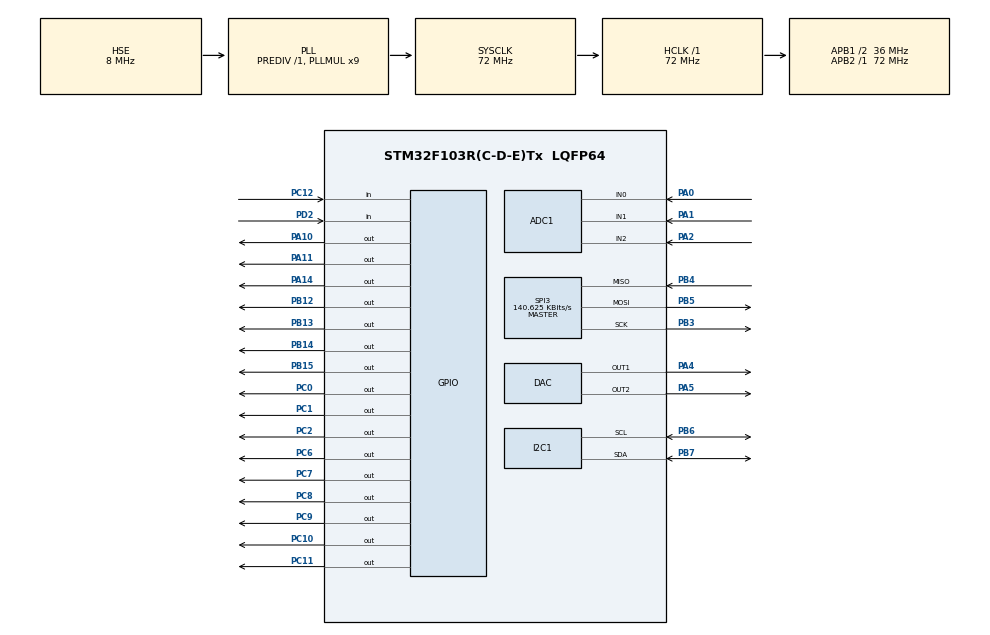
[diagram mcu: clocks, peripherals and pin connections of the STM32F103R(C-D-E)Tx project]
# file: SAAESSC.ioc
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ADC1.Channel-0\#ChannelRegularConversion=ADC_CHANNEL_2
ADC1.Channel-1\#ChannelRegularConversion=ADC_CHANNEL_1
ADC1.Channel-2\#ChannelRegularConversion=ADC_CHANNEL_0
ADC1.ExternalTrigConv=ADC_EXTERNALTRIGCONV_T3_TRGO
ADC1.NbrOfConversion=3
ADC1.NbrOfConversionFlag=1
ADC1.Rank-0\#ChannelRegularConversion=1
ADC1.Rank-1\#ChannelRegularConversion=2
ADC1.Rank-2\#ChannelRegularConversion=3
ADC1.SamplingTime-0\#ChannelRegularConversion=ADC_SAMPLETIME_1CYCLE_5
ADC1.SamplingTime-1\#ChannelRegularConversion=ADC_SAMPLETIME_1CYCLE_5
ADC1.SamplingTime-2\#ChannelRegularConversion=ADC_SAMPLETIME_1CYCLE_5
ADC1.master=1
DAC.DAC_Trigger=DAC_TRIGGER_T6_TRGO
DAC.DAC_Trigger2=DAC_TRIGGER_NONE
Dma.ADC1.1.Direction=DMA_PERIPH_TO_MEMORY
Dma.ADC1.1.Instance=DMA1_Channel1
Dma.ADC1.1.MemDataAlignment=DMA_MDATAALIGN_HALFWORD
Dma.ADC1.1.MemInc=DMA_MINC_ENABLE
Dma.ADC1.1.Mode=DMA_CIRCULAR
Dma.ADC1.1.PeriphDataAlignment=DMA_PDATAALIGN_HALFWORD
Dma.ADC1.1.PeriphInc=DMA_PINC_DISABLE
Dma.ADC1.1.Priority=DMA_PRIORITY_HIGH
Dma.DAC_CH1.0.Direction=DMA_MEMORY_TO_PERIPH
Dma.DAC_CH1.0.Instance=DMA2_Channel3
Dma.DAC_CH1.0.MemDataAlignment=DMA_MDATAALIGN_HALFWORD
Dma.DAC_CH1.0.MemInc=DMA_MINC_ENABLE
Dma.DAC_CH1.0.Mode=DMA_CIRCULAR
Dma.DAC_CH1.0.PeriphDataAlignment=DMA_PDATAALIGN_HALFWORD
Dma.DAC_CH1.0.PeriphInc=DMA_PINC_DISABLE
Dma.DAC_CH1.0.Priority=DMA_PRIORITY_LOW
Dma.I2C1_RX.3.Direction=DMA_PERIPH_TO_MEMORY
Dma.I2C1_RX.3.Instance=DMA1_Channel7
Dma.I2C1_RX.3.MemDataAlignment=DMA_MDATAALIGN_BYTE
Dma.I2C1_RX.3.MemInc=DMA_MINC_ENABLE
Dma.I2C1_RX.3.Mode=DMA_NORMAL
Dma.I2C1_RX.3.PeriphDataAlignment=DMA_PDATAALIGN_BYTE
Dma.I2C1_RX.3.PeriphInc=DMA_PINC_DISABLE
Dma.I2C1_RX.3.Priority=DMA_PRIORITY_LOW
Dma.I2C1_TX.4.Direction=DMA_MEMORY_TO_PERIPH
Dma.I2C1_TX.4.Instance=DMA1_Channel6
Dma.I2C1_TX.4.MemDataAlignment=DMA_MDATAALIGN_BYTE
Dma.I2C1_TX.4.MemInc=DMA_MINC_ENABLE
Dma.I2C1_TX.4.Mode=DMA_NORMAL
Dma.I2C1_TX.4.PeriphDataAlignment=DMA_PDATAALIGN_BYTE
Dma.I2C1_TX.4.PeriphInc=DMA_PINC_DISABLE
Dma.I2C1_TX.4.Priority=DMA_PRIORITY_LOW
Dma.Request0=DAC_CH1
Dma.Request1=ADC1
Dma.Request2=TIM2_UP
Dma.Request3=I2C1_RX
Dma.Request4=I2C1_TX
Dma.TIM2_UP.2.Direction=DMA_PERIPH_TO_MEMORY
Dma.TIM2_UP.2.Instance=DMA1_Channel2
Dma.TIM2_UP.2.MemDataAlignment=DMA_MDATAALIGN_HALFWORD
Dma.TIM2_UP.2.MemInc=DMA_MINC_ENABLE
Dma.TIM2_UP.2.Mode=DMA_NORMAL
Dma.TIM2_UP.2.PeriphDataAlignment=DMA_PDATAALIGN_HALFWORD
Dma.TIM2_UP.2.PeriphInc=DMA_PINC_DISABLE
Dma.TIM2_UP.2.Priority=DMA_PRIORITY_LOW
I2C1.I2C_Mode=I2C_Standard
Mcu.Family=STM32F1
Mcu.Name=STM32F103R(C-D-E)Tx
Mcu.Package=LQFP64
NVIC.DMA1_Channel1_IRQn=true\:0\:0\:false\:false\:true\:false\:true\:true
NVIC.DMA1_Channel2_IRQn=true\:0\:0\:false\:false\:true\:false\:true\:true
NVIC.DMA1_Channel6_IRQn=true\:0\:0\:false\:false\:true\:false\:true\:true
NVIC.DMA1_Channel7_IRQn=true\:0\:0\:false\:false\:true\:false\:true\:true
NVIC.DMA2_Channel3_IRQn=true\:0\:0\:false\:false\:true\:false\:true\:true
NVIC.PriorityGroup=NVIC_PRIORITYGROUP_4
NVIC.TIM2_IRQn=true\:0\:0\:false\:false\:true\:true\:true\:true
NVIC.TIM3_IRQn=true\:0\:0\:false\:false\:true\:true\:true\:true
NVIC.TIM6_IRQn=true\:0\:0\:false\:false\:true\:true\:true\:true
NVIC.TIM7_IRQn=true\:0\:0\:false\:false\:true\:true\:true\:true
PA0-WKUP.Signal=ADCx_IN0
PA1.Signal=ADCx_IN1
PA10.Signal=GPIO_Output
PA11.Signal=GPIO_Output
PA14.Signal=GPIO_Output
PA2.Signal=ADCx_IN2
PA4.Signal=COMP_DAC1_group
PA5.Signal=COMP_DAC2_group
PB12.GPIO_PuPd=GPIO_NOPULL
PB12.Signal=GPIO_Output
PB13.GPIO_PuPd=GPIO_NOPULL
PB13.Signal=GPIO_Output
PB14.GPIO_PuPd=GPIO_NOPULL
PB14.Signal=GPIO_Output
PB15.GPIO_PuPd=GPIO_NOPULL
PB15.Signal=GPIO_Output
PB3.Mode=Full_Duplex_Master
PB3.Signal=SPI3_SCK
PB4.Mode=Full_Duplex_Master
PB4.Signal=SPI3_MISO
PB5.Mode=Full_Duplex_Master
PB5.Signal=SPI3_MOSI
PB6.Mode=I2C
PB6.Signal=I2C1_SCL
PB7.Mode=I2C
PB7.Signal=I2C1_SDA
PC0.GPIO_PuPd=GPIO_NOPULL
PC0.Signal=GPIO_Output
PC1.GPIO_PuPd=GPIO_NOPULL
PC1.Signal=GPIO_Output
PC10.PinState=GPIO_PIN_SET
PC10.Signal=GPIO_Output
PC11.PinState=GPIO_PIN_RESET
PC11.Signal=GPIO_Output
PC12.Signal=GPIO_Input
PC2.GPIO_PuPd=GPIO_NOPULL
PC2.Signal=GPIO_Output
PC6.GPIO_PuPd=GPIO_NOPULL
PC6.Signal=GPIO_Output
PC7.GPIO_PuPd=GPIO_NOPULL
PC7.Signal=GPIO_Output
PC8.GPIO_PuPd=GPIO_NOPULL
PC8.Signal=GPIO_Output
PC9.GPIO_PuPd=GPIO_NOPULL
PC9.Signal=GPIO_Output
PD0-OSC_IN.Mode=HSE-External-Oscillator
PD0-OSC_IN.Signal=RCC_OSC_IN
PD1-OSC_OUT.Mode=HSE-External-Oscillator
PD1-OSC_OUT.Signal=RCC_OSC_OUT
PD2.Signal=GPIO_Input
ProjectManager.HeapSize=0x200
ProjectManager.StackSize=0x400
ProjectManager.TargetToolchain=STM32CubeIDE
RCC.ADCPresc=RCC_ADCPCLK2_DIV6
RCC.AHBFreq_Value=72000000
RCC.APB1CLKDivider=RCC_HCLK_DIV2
RCC.APB1Freq_Value=36000000
RCC.APB1TimFreq_Value=72000000
RCC.APB2Freq_Value=72000000
RCC.APB2TimFreq_Value=72000000
RCC.HCLKFreq_Value=72000000
RCC.PLLMUL=RCC_PLL_MUL9
RCC.PLLSourceVirtual=RCC_PLLSOURCE_HSE
RCC.SYSCLKFreq_VALUE=72000000
RCC.SYSCLKSource=RCC_SYSCLKSOURCE_PLLCLK
RCC.USBFreq_Value=48000000
RCC.USBPrescaler=RCC_USBCLKSOURCE_PLL_DIV1_5
SH.ADCx_IN0.0=ADC1_IN0,IN0
SH.ADCx_IN1.0=ADC1_IN1,IN1
SH.ADCx_IN2.0=ADC1_IN2,IN2
SH.COMP_DAC1_group.0=DAC_OUT1,DAC_OUT1
SH.COMP_DAC2_group.0=DAC_OUT2,DAC_OUT2
SPI3.BaudRatePrescaler=SPI_BAUDRATEPRESCALER_256
SPI3.CalculateBaudRate=140.625 KBits/s
SPI3.Direction=SPI_DIRECTION_2LINES
SPI3.Mode=SPI_MODE_MASTER
SPI3.VirtualType=VM_MASTER
TIM2.Period=1000-1
TIM2.Prescaler=72-1
TIM2.TIM_MasterOutputTrigger=TIM_TRGO_UPDATE
TIM3.Period=1000-1
TIM3.Prescaler=720-1
TIM3.TIM_MasterOutputTrigger=TIM_TRGO_UPDATE
TIM6.AutoReloadPreload=TIM_AUTORELOAD_PRELOAD_DISABLE
TIM6.Period=1000-1
TIM6.Prescaler=72-1
TIM6.TIM_MasterOutputTrigger=TIM_TRGO_UPDATE
TIM7.Period=10000-1
TIM7.Prescaler=7200-1
TIM7.TIM_MasterOutputTrigger=TIM_TRGO_UPDATE
VP_SYS_VS_ND.Mode=No_Debug
VP_TIM2_VS_ClockSourceINT.Mode=Internal
VP_TIM3_VS_ClockSourceINT.Mode=Internal
VP_TIM6_VS_ClockSourceINT.Mode=Enable_Timer
VP_TIM7_VS_ClockSourceINT.Mode=Enable_Timer
board=custom

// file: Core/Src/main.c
/* USER CODE BEGIN Header */
/**
  ******************************************************************************
  * @file           : main.c
  * @brief          : Main program body
  ******************************************************************************
  * @attention
  *
  * Copyright (c) 2024 STMicroelectronics.
  * All rights reserved.
  *
  * This software is licensed under terms that can be found in the LICENSE file
  * in the root directory of this software component.
  * If no LICENSE file comes with this software, it is provided AS-IS.
  *
  ******************************************************************************
  */
/* USER CODE END Header */
#include "main.h"

/* USER CODE BEGIN Includes */
#include "test_routines_handler.h"
#include "signal_generator_handler.h"
#include "acquisition_handler.h"
#include "adc_handler.h"
#include "config.h"
#include "dac_handler.h"
#include "gpio_handler.h"
#include "comunication_handler.h"
#include <math.h>
#define PI 3.14159265358979323846
/* USER CODE END Includes */

ADC_HandleTypeDef hadc1;
DMA_HandleTypeDef hdma_adc1;

DAC_HandleTypeDef hdac;
DMA_HandleTypeDef hdma_dac_ch1;

I2C_HandleTypeDef hi2c1;
DMA_HandleTypeDef hdma_i2c1_rx;
DMA_HandleTypeDef hdma_i2c1_tx;

SPI_HandleTypeDef hspi3;

TIM_HandleTypeDef htim2;
TIM_HandleTypeDef htim3;
TIM_HandleTypeDef htim6;
TIM_HandleTypeDef htim7;
DMA_HandleTypeDef hdma_tim2_up;

void SystemClock_Config(void);
static void MX_GPIO_Init(void);
static void MX_DMA_Init(void);
static void MX_ADC1_Init(void);
static void MX_DAC_Init(void);
static void MX_TIM6_Init(void);
static void MX_I2C1_Init(void);
static void MX_TIM2_Init(void);
static void MX_TIM7_Init(void);
static void MX_SPI3_Init(void);
static void MX_TIM3_Init(void);
/* USER CODE BEGIN PFP */
#define I2C_BUFFER_SIZE 16  // Buffer size for rx/tx
#define DEVICE_ADDRESS 0x42
char tx_buffer[100]; // Tx data
uint8_t rx_buffer[I2C_BUFFER_SIZE];
#define DAC_BUFFER_SIZE 32 // sine size
#define DAC_MAX_VALUE 4095
uint16_t dacbuffer1[DAC_BUFFER_SIZE];
uint16_t dacbuffer2[DAC_BUFFER_SIZE];
uint32_t test = 0;

int main(void)
{

  /* MCU Configuration--------------------------------------------------------*/

  /* Reset of all peripherals, Initializes the Flash interface and the Systick. */
  HAL_Init();

  /* Configure the system clock */
  SystemClock_Config();

  /* Initialize all configured peripherals */
  MX_GPIO_Init();
  MX_DMA_Init();
  MX_ADC1_Init();
  MX_DAC_Init();
  MX_TIM6_Init();
  MX_I2C1_Init();
  MX_TIM2_Init();
  MX_TIM7_Init();
  MX_SPI3_Init();
  MX_TIM3_Init();

  //HAL_TIM_Base_Start_IT(&htim7);
  ADC_Start();
  Control_AcquisitionRate(50);  // Set acquisition rate to 50 Hz
  ScaleControlinput(3, 0);      // Set scale for current and voltage
  //SourceOperation(VOLTAGE);

  //EnableOutput(true);       // Uncomment to enable output for testing generic waveform generation

  //GenerateWaveform(SINE_WAVE, 0.1, 0, 1, 32,dacbuffer1 ,dacbuffer2); // 10 mVpp, offset 0 - generic sine wave generation for testing

  //CiclicVoltametry(5, 2.5, 15, 3);      // Uncomment to use Cyclic Voltammetry (CV) - (SC Voltage, Offset, Scan Rate (mV/s), Number of Cycles)

  //ConstantCurrent_ChargeDischarge(0.203, 4615, 2.5, 0, 30);     // Uncomment to use Constant Current Charge Discharge (CCCD) - (Current (mA), Shunt (ohm), SC Voltage, Offset, Number of Cycles)

  //ConstantCurrent_Charge_SelfDischarge(0.203, 4615, 2.5, 2000);   // Uncomment to use Constant Current Charge Self Discharge (CCCSD) - (Current (mA), Shunt (ohm), SC Voltage, Discharge Time (s))
}

void SystemClock_Config(void)
{
  RCC_OscInitTypeDef RCC_OscInitStruct = {0};
  RCC_ClkInitTypeDef RCC_ClkInitStruct = {0};
  RCC_PeriphCLKInitTypeDef PeriphClkInit = {0};

  /** Initializes the RCC Oscillators according to the specified parameters
  * in the RCC_OscInitTypeDef structure.
  */
  RCC_OscInitStruct.OscillatorType = RCC_OSCILLATORTYPE_HSE;
  RCC_OscInitStruct.HSEState = RCC_HSE_ON;
  RCC_OscInitStruct.HSEPredivValue = RCC_HSE_PREDIV_DIV1;
  RCC_OscInitStruct.HSIState = RCC_HSI_ON;
  RCC_OscInitStruct.PLL.PLLState = RCC_PLL_ON;
  RCC_OscInitStruct.PLL.PLLSource = RCC_PLLSOURCE_HSE;
  RCC_OscInitStruct.PLL.PLLMUL = RCC_PLL_MUL9;
  if (HAL_RCC_OscConfig(&RCC_OscInitStruct) != HAL_OK)
  {
    Error_Handler();
  }

  /** Initializes the CPU, AHB and APB buses clocks
  */
  RCC_ClkInitStruct.ClockType = RCC_CLOCKTYPE_HCLK|RCC_CLOCKTYPE_SYSCLK
                              |RCC_CLOCKTYPE_PCLK1|RCC_CLOCKTYPE_PCLK2;
  RCC_ClkInitStruct.SYSCLKSource = RCC_SYSCLKSOURCE_PLLCLK;
  RCC_ClkInitStruct.AHBCLKDivider = RCC_SYSCLK_DIV1;
  RCC_ClkInitStruct.APB1CLKDivider = RCC_HCLK_DIV2;
  RCC_ClkInitStruct.APB2CLKDivider = RCC_HCLK_DIV1;

  if (HAL_RCC_ClockConfig(&RCC_ClkInitStruct, FLASH_LATENCY_2) != HAL_OK)
  {
    Error_Handler();
  }
  PeriphClkInit.PeriphClockSelection = RCC_PERIPHCLK_ADC;
  PeriphClkInit.AdcClockSelection = RCC_ADCPCLK2_DIV6;
  if (HAL_RCCEx_PeriphCLKConfig(&PeriphClkInit) != HAL_OK)
  {
    Error_Handler();
  }
}

static void MX_ADC1_Init(void)
{
  ADC_ChannelConfTypeDef sConfig = {0};

  /** Common config
  */
  hadc1.Instance = ADC1;
  hadc1.Init.ScanConvMode = ADC_SCAN_ENABLE;
  hadc1.Init.ContinuousConvMode = DISABLE;
  hadc1.Init.DiscontinuousConvMode = DISABLE;
  hadc1.Init.ExternalTrigConv = ADC_EXTERNALTRIGCONV_T3_TRGO;
  hadc1.Init.DataAlign = ADC_DATAALIGN_RIGHT;
  hadc1.Init.NbrOfConversion = 3;
  if (HAL_ADC_Init(&hadc1) != HAL_OK)
  {
    Error_Handler();
  }

  /** Configure Regular Channel
  */
  sConfig.Channel = ADC_CHANNEL_2;
  sConfig.Rank = ADC_REGULAR_RANK_1;
  sConfig.SamplingTime = ADC_SAMPLETIME_1CYCLE_5;
  if (HAL_ADC_ConfigChannel(&hadc1, &sConfig) != HAL_OK)
  {
    Error_Handler();
  }

  /** Configure Regular Channel
  */
  sConfig.Channel = ADC_CHANNEL_1;
  sConfig.Rank = ADC_REGULAR_RANK_2;
  if (HAL_ADC_ConfigChannel(&hadc1, &sConfig) != HAL_OK)
  {
    Error_Handler();
  }

  /** Configure Regular Channel
  */
  sConfig.Channel = ADC_CHANNEL_0;
  sConfig.Rank = ADC_REGULAR_RANK_3;
  if (HAL_ADC_ConfigChannel(&hadc1, &sConfig) != HAL_OK)
  {
    Error_Handler();
  }
  // Channel configuration for DMA
  hdma_adc1.Instance = DMA1_Channel1;
    hdma_adc1.Init.Direction = DMA_PERIPH_TO_MEMORY;
    hdma_adc1.Init.PeriphInc = DMA_PINC_DISABLE;
    hdma_adc1.Init.MemInc = DMA_MINC_ENABLE;
    hdma_adc1.Init.PeriphDataAlignment = DMA_PDATAALIGN_HALFWORD;
    hdma_adc1.Init.MemDataAlignment = DMA_MDATAALIGN_HALFWORD;
    hdma_adc1.Init.Mode = DMA_CIRCULAR;
    hdma_adc1.Init.Priority = DMA_PRIORITY_HIGH;
    HAL_DMA_Init(&hdma_adc1);
  __HAL_LINKDMA(&hadc1, DMA_Handle, hdma_adc1);
}

static void MX_DAC_Init(void)
{
  DAC_ChannelConfTypeDef sConfig = {0};

  /** DAC Initialization
  */
  hdac.Instance = DAC;
  if (HAL_DAC_Init(&hdac) != HAL_OK)
  {
    Error_Handler();
  }

  /** DAC channel OUT1 config
  */
  sConfig.DAC_Trigger = DAC_TRIGGER_T6_TRGO;
  sConfig.DAC_OutputBuffer = DAC_OUTPUTBUFFER_ENABLE;
  if (HAL_DAC_ConfigChannel(&hdac, &sConfig, DAC_CHANNEL_1) != HAL_OK)
  {
    Error_Handler();
  }

  /** DAC channel OUT2 config
  */
  sConfig.DAC_Trigger = DAC_TRIGGER_NONE;
  if (HAL_DAC_ConfigChannel(&hdac, &sConfig, DAC_CHANNEL_2) != HAL_OK)
  {
    Error_Handler();
  }
  hdma_dac_ch1.Instance = DMA2_Channel3;
      hdma_dac_ch1.Init.Direction = DMA_MEMORY_TO_PERIPH;
      hdma_dac_ch1.Init.PeriphInc = DMA_PINC_DISABLE;
      hdma_dac_ch1.Init.MemInc = DMA_MINC_ENABLE;
      hdma_dac_ch1.Init.PeriphDataAlignment = DMA_PDATAALIGN_HALFWORD;
      hdma_dac_ch1.Init.MemDataAlignment = DMA_MDATAALIGN_HALFWORD;
      hdma_dac_ch1.Init.Mode = DMA_CIRCULAR;
      hdma_dac_ch1.Init.Priority = DMA_PRIORITY_HIGH;
      if (HAL_DMA_Init(&hdma_dac_ch1) != HAL_OK) {
          Error_Handler();
      }
  __HAL_LINKDMA(&hdac, DMA_Handle1, hdma_dac_ch1);
}

static void MX_I2C1_Init(void)
{

  hi2c1.Instance = I2C1;
  hi2c1.Init.ClockSpeed = 100000;
  hi2c1.Init.DutyCycle = I2C_DUTYCYCLE_2;
  hi2c1.Init.OwnAddress1 = 0;
  hi2c1.Init.AddressingMode = I2C_ADDRESSINGMODE_7BIT;
  hi2c1.Init.DualAddressMode = I2C_DUALADDRESS_DISABLE;
  hi2c1.Init.OwnAddress2 = 0;
  hi2c1.Init.GeneralCallMode = I2C_GENERALCALL_DISABLE;
  hi2c1.Init.NoStretchMode = I2C_NOSTRETCH_DISABLE;
  if (HAL_I2C_Init(&hi2c1) != HAL_OK)
  {
    Error_Handler();
  }

  hdma_i2c1_tx.Instance = DMA1_Channel6;
  hdma_i2c1_tx.Init.Direction = DMA_MEMORY_TO_PERIPH;
  hdma_i2c1_tx.Init.PeriphInc = DMA_PINC_DISABLE;
  hdma_i2c1_tx.Init.MemInc = DMA_MINC_ENABLE;
  hdma_i2c1_tx.Init.PeriphDataAlignment = DMA_PDATAALIGN_BYTE;
  hdma_i2c1_tx.Init.MemDataAlignment = DMA_MDATAALIGN_BYTE;
  hdma_i2c1_tx.Init.Mode = DMA_NORMAL;
  hdma_i2c1_tx.Init.Priority = DMA_PRIORITY_LOW;
  HAL_DMA_Init(&hdma_i2c1_tx);

  // Link between I2C and DMA
  __HAL_LINKDMA(&hi2c1, hdmatx, hdma_i2c1_tx);
}

static void MX_SPI3_Init(void)
{
  /* SPI3 parameter configuration*/
  hspi3.Instance = SPI3;
  hspi3.Init.Mode = SPI_MODE_MASTER;
  hspi3.Init.Direction = SPI_DIRECTION_2LINES;
  hspi3.Init.DataSize = SPI_DATASIZE_8BIT;
  hspi3.Init.CLKPolarity = SPI_POLARITY_LOW;
  hspi3.Init.CLKPhase = SPI_PHASE_1EDGE;
  hspi3.Init.NSS = SPI_NSS_SOFT;
  hspi3.Init.BaudRatePrescaler = SPI_BAUDRATEPRESCALER_256;
  hspi3.Init.FirstBit = SPI_FIRSTBIT_MSB;
  hspi3.Init.TIMode = SPI_TIMODE_DISABLE;
  hspi3.Init.CRCCalculation = SPI_CRCCALCULATION_DISABLE;
  hspi3.Init.CRCPolynomial = 10;
  if (HAL_SPI_Init(&hspi3) != HAL_OK)
  {
    Error_Handler();
  }
}

static void MX_TIM2_Init(void)
{
  TIM_ClockConfigTypeDef sClockSourceConfig = {0};
  TIM_MasterConfigTypeDef sMasterConfig = {0};

  htim2.Instance = TIM2;
  htim2.Init.Prescaler = 72-1;
  htim2.Init.CounterMode = TIM_COUNTERMODE_UP;
  htim2.Init.Period = 1000-1;
  htim2.Init.ClockDivision = TIM_CLOCKDIVISION_DIV1;
  htim2.Init.AutoReloadPreload = TIM_AUTORELOAD_PRELOAD_DISABLE;
  if (HAL_TIM_Base_Init(&htim2) != HAL_OK)
  {
    Error_Handler();
  }
  sClockSourceConfig.ClockSource = TIM_CLOCKSOURCE_INTERNAL;
  if (HAL_TIM_ConfigClockSource(&htim2, &sClockSourceConfig) != HAL_OK)
  {
    Error_Handler();
  }
  sMasterConfig.MasterOutputTrigger = TIM_TRGO_UPDATE;
  sMasterConfig.MasterSlaveMode = TIM_MASTERSLAVEMODE_DISABLE;
  if (HAL_TIMEx_MasterConfigSynchronization(&htim2, &sMasterConfig) != HAL_OK)
  {
    Error_Handler();
  }
}

static void MX_TIM3_Init(void)
{

  TIM_ClockConfigTypeDef sClockSourceConfig = {0};
  TIM_MasterConfigTypeDef sMasterConfig = {0};

  htim3.Instance = TIM3;
  htim3.Init.Prescaler = 720-1;
  htim3.Init.CounterMode = TIM_COUNTERMODE_UP;
  htim3.Init.Period = 1000-1;
  htim3.Init.ClockDivision = TIM_CLOCKDIVISION_DIV1;
  htim3.Init.AutoReloadPreload = TIM_AUTORELOAD_PRELOAD_DISABLE;
  if (HAL_TIM_Base_Init(&htim3) != HAL_OK)
  {
    Error_Handler();
  }
  sClockSourceConfig.ClockSource = TIM_CLOCKSOURCE_INTERNAL;
  if (HAL_TIM_ConfigClockSource(&htim3, &sClockSourceConfig) != HAL_OK)
  {
    Error_Handler();
  }
  sMasterConfig.MasterOutputTrigger = TIM_TRGO_UPDATE;
  sMasterConfig.MasterSlaveMode = TIM_MASTERSLAVEMODE_DISABLE;
  if (HAL_TIMEx_MasterConfigSynchronization(&htim3, &sMasterConfig) != HAL_OK)
  {
    Error_Handler();
  }
}

static void MX_TIM6_Init(void)
{
  TIM_MasterConfigTypeDef sMasterConfig = {0};

  htim6.Instance = TIM6;
  htim6.Init.Prescaler = 72-1;
  htim6.Init.CounterMode = TIM_COUNTERMODE_UP;
  htim6.Init.Period = 1000-1;
  htim6.Init.AutoReloadPreload = TIM_AUTORELOAD_PRELOAD_DISABLE;
  if (HAL_TIM_Base_Init(&htim6) != HAL_OK)
  {
    Error_Handler();
  }
  sMasterConfig.MasterOutputTrigger = TIM_TRGO_UPDATE;
  sMasterConfig.MasterSlaveMode = TIM_MASTERSLAVEMODE_DISABLE;
  if (HAL_TIMEx_MasterConfigSynchronization(&htim6, &sMasterConfig) != HAL_OK)
  {
    Error_Handler();
  }
}

static void MX_TIM7_Init(void)
{
  TIM_MasterConfigTypeDef sMasterConfig = {0};

  htim7.Instance = TIM7;
  htim7.Init.Prescaler = 7200-1;
  htim7.Init.CounterMode = TIM_COUNTERMODE_UP;
  htim7.Init.Period = 10000-1;
  htim7.Init.AutoReloadPreload = TIM_AUTORELOAD_PRELOAD_DISABLE;
  if (HAL_TIM_Base_Init(&htim7) != HAL_OK)
  {
    Error_Handler();
  }
  sMasterConfig.MasterOutputTrigger = TIM_TRGO_UPDATE;
  sMasterConfig.MasterSlaveMode = TIM_MASTERSLAVEMODE_DISABLE;
  if (HAL_TIMEx_MasterConfigSynchronization(&htim7, &sMasterConfig) != HAL_OK)
  {
    Error_Handler();
  }
}

static void MX_DMA_Init(void)
{

  /* DMA controller clock enable */
  __HAL_RCC_DMA2_CLK_ENABLE();
  __HAL_RCC_DMA1_CLK_ENABLE();

  /* DMA interrupt init */
  /* DMA1_Channel1_IRQn interrupt configuration */
  HAL_NVIC_SetPriority(DMA1_Channel1_IRQn, 0, 0);
  HAL_NVIC_EnableIRQ(DMA1_Channel1_IRQn);
  /* DMA1_Channel2_IRQn interrupt configuration */
  HAL_NVIC_SetPriority(DMA1_Channel2_IRQn, 0, 0);
  HAL_NVIC_EnableIRQ(DMA1_Channel2_IRQn);
  /* DMA1_Channel6_IRQn interrupt configuration */
  HAL_NVIC_SetPriority(DMA1_Channel6_IRQn, 0, 0);
  HAL_NVIC_EnableIRQ(DMA1_Channel6_IRQn);
  /* DMA1_Channel7_IRQn interrupt configuration */
  HAL_NVIC_SetPriority(DMA1_Channel7_IRQn, 0, 0);
  HAL_NVIC_EnableIRQ(DMA1_Channel7_IRQn);
  /* DMA2_Channel3_IRQn interrupt configuration */
  HAL_NVIC_SetPriority(DMA2_Channel3_IRQn, 0, 0);
  HAL_NVIC_EnableIRQ(DMA2_Channel3_IRQn);

}

static void MX_GPIO_Init(void)
{
  GPIO_InitTypeDef GPIO_InitStruct = {0};

  /* GPIO Ports Clock Enable */
  __HAL_RCC_GPIOD_CLK_ENABLE();
  __HAL_RCC_GPIOC_CLK_ENABLE();
  __HAL_RCC_GPIOA_CLK_ENABLE();
  __HAL_RCC_GPIOB_CLK_ENABLE();

  /*Configure GPIO pin Output Level */
  HAL_GPIO_WritePin(GPIOC, GPIO_PIN_0|GPIO_PIN_1|GPIO_PIN_2|GPIO_PIN_6
                          |GPIO_PIN_7|GPIO_PIN_8|GPIO_PIN_9|GPIO_PIN_11, GPIO_PIN_RESET);

  /*Configure GPIO pin Output Level */
  HAL_GPIO_WritePin(GPIOB, GPIO_PIN_12|GPIO_PIN_13|GPIO_PIN_14|GPIO_PIN_15, GPIO_PIN_RESET);

  /*Configure GPIO pin Output Level */
  HAL_GPIO_WritePin(GPIOA, GPIO_PIN_10|GPIO_PIN_11|GPIO_PIN_14, GPIO_PIN_RESET);

  /*Configure GPIO pin Output Level */
  HAL_GPIO_WritePin(GPIOC, GPIO_PIN_10, GPIO_PIN_SET);

  /*Configure GPIO pins : PC0 PC1 PC2 PC6
                           PC7 PC8 PC9 PC10
                           PC11 */
  GPIO_InitStruct.Pin = GPIO_PIN_0|GPIO_PIN_1|GPIO_PIN_2|GPIO_PIN_6
                          |GPIO_PIN_7|GPIO_PIN_8|GPIO_PIN_9|GPIO_PIN_10
                          |GPIO_PIN_11;
  GPIO_InitStruct.Mode = GPIO_MODE_OUTPUT_PP;
  GPIO_InitStruct.Pull = GPIO_NOPULL;
  GPIO_InitStruct.Speed = GPIO_SPEED_FREQ_LOW;
  HAL_GPIO_Init(GPIOC, &GPIO_InitStruct);

  /*Configure GPIO pins : PB12 PB13 PB14 PB15 */
  GPIO_InitStruct.Pin = GPIO_PIN_12|GPIO_PIN_13|GPIO_PIN_14|GPIO_PIN_15;
  GPIO_InitStruct.Mode = GPIO_MODE_OUTPUT_PP;
  GPIO_InitStruct.Pull = GPIO_NOPULL;
  GPIO_InitStruct.Speed = GPIO_SPEED_FREQ_LOW;
  HAL_GPIO_Init(GPIOB, &GPIO_InitStruct);

  /*Configure GPIO pins : PA10 PA11 PA14 */
  GPIO_InitStruct.Pin = GPIO_PIN_10|GPIO_PIN_11|GPIO_PIN_14;
  GPIO_InitStruct.Mode = GPIO_MODE_OUTPUT_PP;
  GPIO_InitStruct.Pull = GPIO_NOPULL;
  GPIO_InitStruct.Speed = GPIO_SPEED_FREQ_LOW;
  HAL_GPIO_Init(GPIOA, &GPIO_InitStruct);

  /*Configure GPIO pin : PC12 */
  GPIO_InitStruct.Pin = GPIO_PIN_12;
  GPIO_InitStruct.Mode = GPIO_MODE_INPUT;
  GPIO_InitStruct.Pull = GPIO_NOPULL;
  HAL_GPIO_Init(GPIOC, &GPIO_InitStruct);

  /*Configure GPIO pin : PD2 */
  GPIO_InitStruct.Pin = GPIO_PIN_2;
  GPIO_InitStruct.Mode = GPIO_MODE_INPUT;
  GPIO_InitStruct.Pull = GPIO_NOPULL;
  HAL_GPIO_Init(GPIOD, &GPIO_InitStruct);

}

/* USER CODE BEGIN 4 */
void HAL_TIM_PeriodElapsedCallback(TIM_HandleTypeDef *htim) {
    if (htim->Instance == TIM1) {
    	TIM1_Callback();
    } else if (htim->Instance == TIM2) {
        TIM2_Callback();
        //TIM1_Callback();
    } else if (htim->Instance == TIM7) {
    	//TIM1_Callback();
    }
}
/* USER CODE END 4 */

void Error_Handler(void)
{
  __disable_irq();
  while (1)
  {
  }
}
